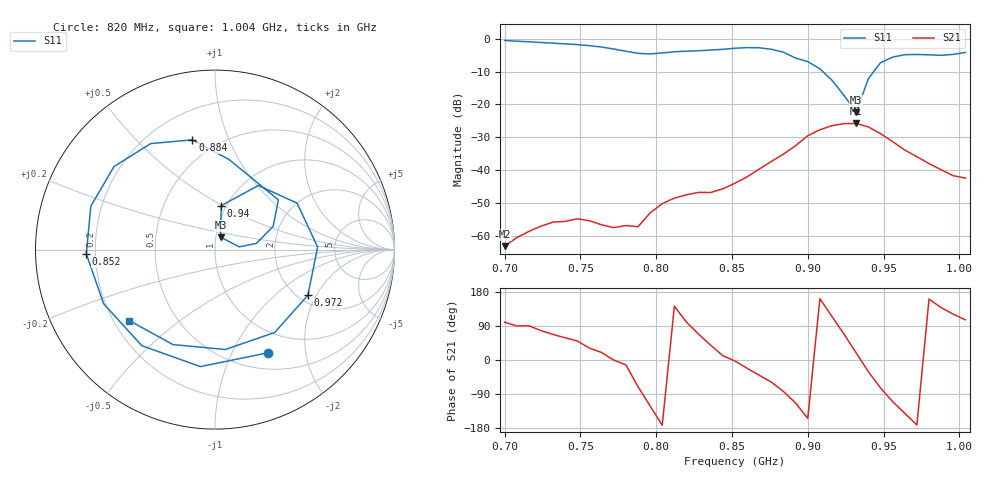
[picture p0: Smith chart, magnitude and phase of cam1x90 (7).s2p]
# Hz S RI R 50
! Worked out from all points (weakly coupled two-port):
!   39 points, 700 MHz to 1.004 GHz, reference 50 ohm
!   highest |S21| = -25.79 dB at 932 MHz (marker M1); lowest = -63.1 dB at 700 MHz (marker M2)
!   lowest |S11| = -22.3 dB at 932 MHz (marker M3), VSWR 1.17, Z = 52.7 + j7.38 ohm
!   |S11| at or under -10 dB: 910 MHz to 943.5 MHz (33.57 MHz wide, 3.62 % of centre)
!   S12 and S22 are empty: the file has one direction only
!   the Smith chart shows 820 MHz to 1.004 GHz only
!   S11 on the Smith chart (normalised r, x): 820 MHz: 0.71, -1.39; 852 MHz: 0.16, -0.02; 884 MHz: 0.37, +0.75; 940 MHz: 0.95, +0.49; 972 MHz: 2.24, -1.71; 1.004 GHz: 0.26, -0.34
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7e8  0.7606 0.5553  -0.000118 0.000688  0 0  0 0
7.24e8  0.8413 -0.2466  0.000305 0.00138  0 0  0 0
7.4e8  0.4579 -0.6992  0.000868 0.00142  0 0  0 0
7.56e8  -0.1876 -0.7621  0.00145 0.000882  0 0  0 0
7.72e8  -0.6661 -0.2081  0.00134 -6.42e-06  0 0  0 0
7.8e8  -0.6076 0.2203  0.0014 -0.00032  0 0  0 0
7.88e8  -0.265 0.5375  0.000466 -0.0013  0 0  0 0
7.96e8  0.228 0.5413  -0.00117 -0.00191  0 0  0 0
8.04e8  0.5736 0.2026  -0.00307 -0.000427  0 0  0 0
8.2e8  0.2965 -0.5747  -0.000721 0.00416  0 0  0 0
8.36e8  -0.4078 -0.5353  0.00357 0.00287  0 0  0 0
8.52e8  -0.717 -0.0241  0.00633 -0.000311  0 0  0 0
8.68e8  -0.5629 0.4624  0.00796 -0.00669  0 0  0 0
8.84e8  -0.1254 0.6114  0.00211 -0.0175  0 0  0 0
9e8  0.353 0.2775  -0.0301 -0.0146  0 0  0 0
9.08e8  0.3242 0.1298  -0.0392 0.0128  0 0  0 0
9.32e8  0.0313 0.0696  0.0487 0.0163  0 0  0 0
9.4e8  0.0349 0.2449  0.039 -0.0234  0 0  0 0
9.56e8  0.4573 0.259  -0.0092 -0.0256  0 0  0 0
9.72e8  0.5174 -0.2544  -0.0159 -0.00239  0 0  0 0
9.88e8  0.0577 -0.5567  -0.00759 0.00676  0 0  0 0
1.004e9  -0.4769 -0.3956  -0.00208 0.00731  0 0  0 0
